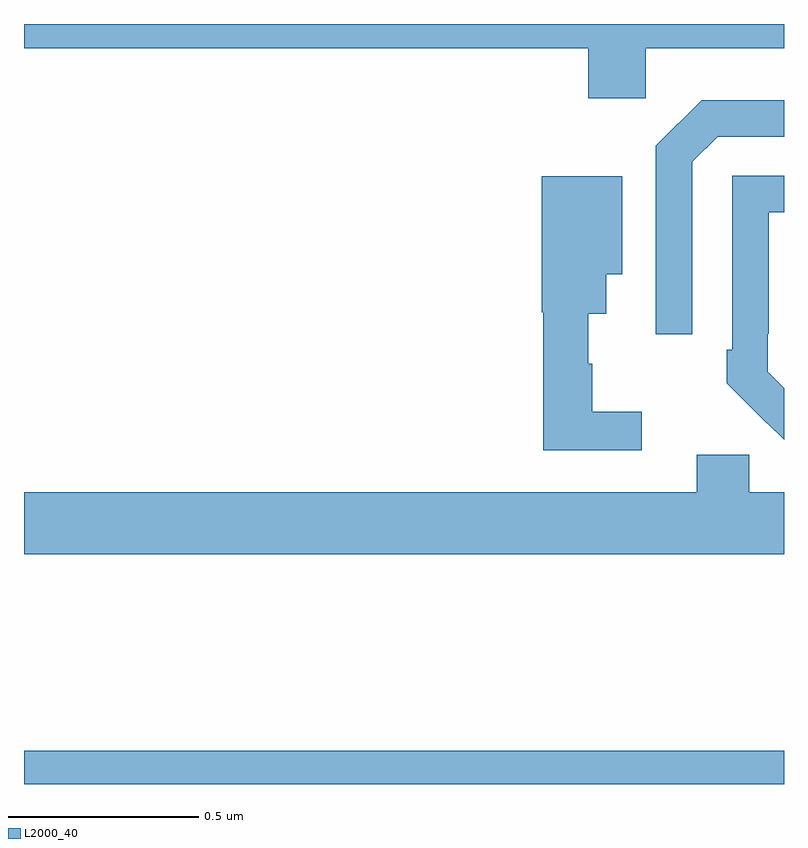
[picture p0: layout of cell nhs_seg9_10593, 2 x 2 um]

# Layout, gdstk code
import gdstk
lib = gdstk.Library(unit=1e-6, precision=1e-09)
def R(c, l, rs):  # rectangles x0, y0, x1, y1
    for r in rs: c.add(gdstk.rectangle(r[:2], r[2:], *l))
def P(c, l, *ps):  # polygons
    for p in ps: c.add(gdstk.Polygon(p, *l))
L2000_40 = (2000, 40)

nhs_seg9_10593 = lib.new_cell('nhs_seg9_10593')
R(nhs_seg9_10593, L2000_40, [(245,1178.5,247,1178.588)])
P(nhs_seg9_10593, L2000_40, [(246.636,1180.436),(247,1180.436),(247,1180.5),(245,1180.5),(245,1180.436),(246.485,1180.436),(246.485,1180.305),(246.636,1180.305)],
  [(246.759,1180.137),(246.825,1180.203),(247,1180.203),(247,1180.3),(246.784,1180.3),(246.663,1180.179),(246.663,1179.684),(246.759,1179.684)],
  [(247,1179.542),(246.957,1179.585),(246.957,1179.685),(246.96,1179.685),(246.96,1180.005),(247,1180.005),(247,1180.101),(246.864,1180.101),(246.864,1179.643),(246.849,1179.643),(246.849,1179.555),(246.954,1179.45),(246.955,1179.451),(247,1179.406)],
  [(246.625,1179.479),(246.496,1179.479),(246.496,1179.606),(246.485,1179.606),(246.485,1179.737),(246.532,1179.737),(246.532,1179.842),(246.574,1179.842),(246.574,1180.099),(246.362,1180.099),(246.362,1179.741),(246.367,1179.741),(246.367,1179.378),(246.625,1179.378)],
  [(247,1179.268),(246.909,1179.268),(246.909,1179.366),(246.77,1179.366),(246.77,1179.268),(245,1179.268),(245,1179.104),(247,1179.104)])

lib.write_gds('nhs_seg9_10593.gds')
